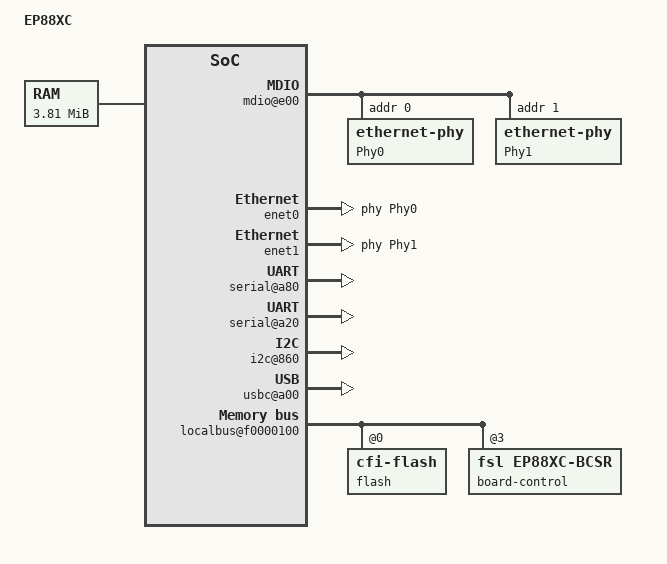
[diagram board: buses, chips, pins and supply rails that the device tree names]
/*
 * EP88XC Device Tree Source
 *
 * Copyright 2006 MontaVista Software, Inc.
 *
 * This program is free software; you can redistribute  it and/or modify it
 * under  the terms of  the GNU General  Public License as published by the
 * Free Software Foundation;  either version 2 of the  License, or (at your
 * option) any later version.
 */


/ {
	model = "EP88XC";
	compatible = "mpc8xx";
	#address-cells = <1>;
	#size-cells = <1>;

	aliases {
		ethernet0 = &enet0;
		ethernet1 = &enet1;
	};

	cpus {
		#address-cells = <1>;
		#size-cells = <0>;

		PowerPC,885@0 {
			device_type = "cpu";
			reg = <0>;
			d-cache-line-size = <20>;	// 32 bytes
			i-cache-line-size = <20>;	// 32 bytes
			d-cache-size = <2000>;		// L1, 8K
			i-cache-size = <2000>;		// L1, 8K
			timebase-frequency = <0>;
			bus-frequency = <0>;
			clock-frequency = <0>;
			32-bit;
			interrupts = <f 2>;	// decrementer interrupt
			interrupt-parent = <&Mpc8xx_pic>;
		};
	};

	memory {
		device_type = "memory";
		reg = <00000000 4000000>;
	};

	soc885@f0000000 {
		#address-cells = <1>;
		#size-cells = <1>;
		#interrupt-cells = <2>;
		compatible = "fsl,soc", "fsl,mpc8xx-immr";
		device_type = "soc";
		ranges = <0 f0000000 00100000>;
		reg = <f0000000 00000200>;
		bus-frequency = <0>;
		mdio@e00 {
			device_type = "mdio";
			compatible = "fs_enet";
			reg = <e00 8>;
			#address-cells = <1>;
			#size-cells = <0>;
			Phy0: ethernet-phy@0 {
				reg = <0>;
				device_type = "ethernet-phy";
			};
			Phy1: ethernet-phy@1 {
				reg = <1>;
				device_type = "ethernet-phy";
			};
		};

		enet0: ethernet@e00 {
			device_type = "network";
			compatible = "fs_enet";
			model = "FEC";
			device-id = <1>;
			reg = <e00 188>;
			mac-address = [ 00 00 00 00 00 00 ];
			interrupts = <3 1>;
			interrupt-parent = <&Mpc8xx_pic>;
			phy-handle = <&Phy0>;
		};

		enet1: ethernet@1e00 {
			device_type = "network";
			compatible = "fs_enet";
			model = "FEC";
			device-id = <2>;
			reg = <1e00 188>;
			mac-address = [ 00 00 00 00 00 00 ];
			interrupts = <7 1>;
			interrupt-parent = <&Mpc8xx_pic>;
			phy-handle = <&Phy1>;
		};

		Mpc8xx_pic: pic@f0000000 {
			interrupt-controller;
			#address-cells = <0>;
			#interrupt-cells = <2>;
			reg = <0 24>;
			built-in;
			device_type = "mpc8xx-pic";
			compatible = "CPM";
		};

		pcmcia@0080 {
			#address-cells = <3>;
			#interrupt-cells = <1>;
			#size-cells = <2>;
			compatible = "fsl,pq-pcmcia";
			device_type = "pcmcia";
			reg = <80 80>;
			interrupt-parent = <&Mpc8xx_pic>;
			interrupts = <d 1>;
		};

		cpm@f0000000 {
			#address-cells = <1>;
			#size-cells = <1>;
			#interrupt-cells = <2>;
			device_type = "cpm";
			compatible = "fsl,cpm1", "fsl,cpm";
			model = "CPM";
			ranges = <0 0 4000>;
			reg = <860 f0>;
			command-proc = <9c0>;
			brg-frequency = <0>;
			interrupts = <0 2>;	// cpm error interrupt
			interrupt-parent = <&Cpm_pic>;

			Cpm_pic: pic@930 {
				interrupt-controller;
				#address-cells = <0>;
				#interrupt-cells = <2>;
				interrupts = <5 2 0 2>;
				interrupt-parent = <&Mpc8xx_pic>;
				reg = <930 20>;
				built-in;
				device_type = "cpm-pic";
				compatible = "CPM";
			};

			// MON-1
			serial@a80 {
				device_type = "serial";
				compatible = "cpm_uart";
				model = "SMC";
				device-id = <1>;
				reg = <a80 10 3e80 40>;
				clock-setup = <00ffffff 0>;
				fsl,cpm-brg = <1>;
				current-speed = <0>;
				interrupts = <4 3>;
				interrupt-parent = <&Cpm_pic>;
			};

			// SER-1
			serial@a20 {
				device_type = "serial";
				compatible = "cpm_uart",
					     "fsl,mpc885-scc-uart",
				             "fsl,cpm1-scc-uart";
				reg = <a20 20 3d00 80>;
				interrupts = <1d 3>;
				interrupt-parent = <&Cpm_pic>;
				fsl,cpm-brg = <2>;
				device-id = <2>;
				model = "SCC";
			};

			i2c@860 {
				device_type = "i2c";
				compatible = "fsl,i2c-cpm";
				reg = <860 20 3c80 30>;
				interrupts = <10 3>;
				interrupt-parent = <&Cpm_pic>;
			};
			usbc@a00 {
				device_type = "usbc";
				compatible = "fsl,usbc-cpm";
				reg = <a00 20 3c00 80>;
				interrupts = <1e 3>;
				interrupt-parent = <&Cpm_pic>;
			};
		};
	};

	localbus@f0000100 {
		compatible = "fsl,mpc885-localbus", "fsl,pq1-localbus";
		#address-cells = <2>;
		#size-cells = <1>;
		reg = <f0000100 40>;

		ranges = <
			0 0 fc000000 04000000
			3 0 fa000000 01000000
		>;

		flash@0,2000000 {
			compatible = "cfi-flash";
			reg = <0 2000000 2000000>;
			bank-width = <4>;
			device-width = <2>;
		};

		board-control@3,400000 {
			reg = <3 400000 10>;
			compatible = "fsl,ep88xc-bcsr";
		};
	};
};

